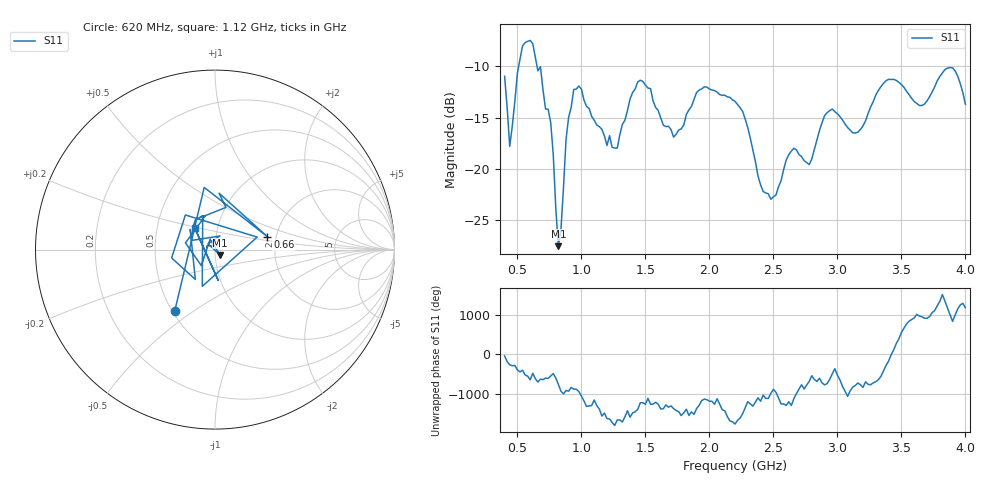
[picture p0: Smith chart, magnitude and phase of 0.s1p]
!Created with skrf (http://scikit-rf.org).
# Hz S RI R 50.0
!freq ReS11 ImS11
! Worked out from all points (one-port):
!   181 points, 400 MHz to 4 GHz, reference 50 ohm
!   lowest |S11| = -27.6 dB at 820 MHz (marker M1), VSWR 1.09, Z = 52.8 - j3.24 ohm
!   |S11| at or under -10 dB: start of sweep to 509.5 MHz; 653.7 MHz to end of sweep
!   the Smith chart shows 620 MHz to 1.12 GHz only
!   S11 on the Smith chart (normalised r, x): 620 MHz: 0.52, -0.42; 660 MHz: 1.80, +0.28; 1.12 GHz: 0.78, +0.19
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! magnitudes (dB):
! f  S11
! 400 MHz  -11.0
! 440 MHz  -17.8
! 540 MHz  -8.0
! 620 MHz  -7.8
! 660 MHz  -10.4
! 760 MHz  -15.5
! 820 MHz  -27.6
! 860 MHz  -21.9
! 880 MHz  -17.1
! 940 MHz  -12.3
! 1.12 GHz  -15.7
! 1.2 GHz  -17.7
! 1.3 GHz  -16.7
! 1.46 GHz  -11.3
! 1.64 GHz  -15.7
! 1.76 GHz  -16.2
! 1.96 GHz  -12.0
! 2.2 GHz  -13.4
! 2.48 GHz  -23.0
! 2.66 GHz  -18.0
! 2.78 GHz  -19.6
! 2.96 GHz  -14.2
! 3.1 GHz  -16.2
! 3.38 GHz  -11.4
! 3.56 GHz  -12.8
! 3.68 GHz  -13.7
! 3.9 GHz  -10.1
! 4 GHz  -13.7
